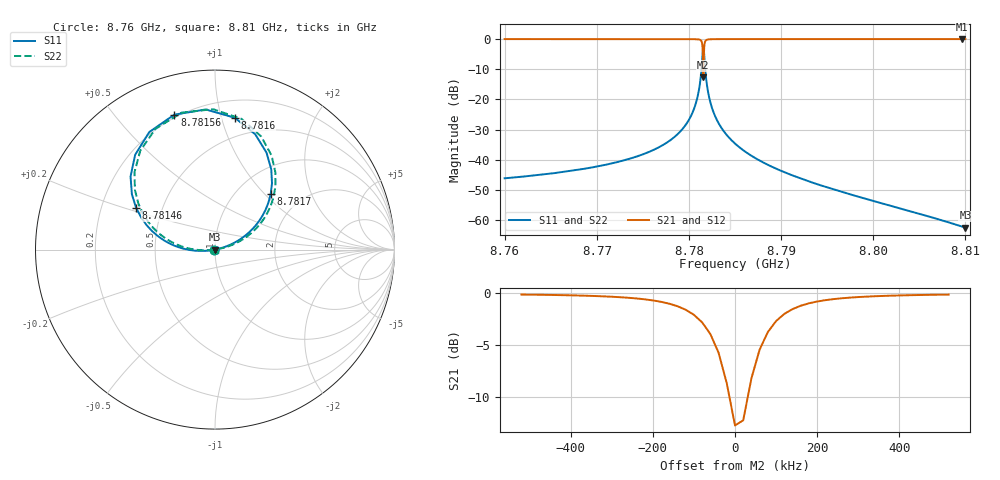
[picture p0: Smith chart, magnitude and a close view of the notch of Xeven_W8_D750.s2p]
! Sonnet Data File
! From: emgraph Version : 16.52
! From Project: Qubit_Xmon2_brg_para
! Data is De-embedded
! Data File Written: 10/25/2017 15:52:26
!< HDATE 10/25/2017 13:56:11
!< MDATE 10/25/2017 13:56:11
!< PARAMS
!< Lj = 11.0
!< Gap = 6.0
!< Pwid = 2000.0
!< Airgap = 6.0
!< Width = 10.0
!< Bwid = 8.0
!< Dis1 = 750.0
!< Dis2 = 756.0
!< END PARAMS
# GHZ S MA R 51.80000
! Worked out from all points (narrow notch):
!   2501 points, 8.76 GHz to 8.81 GHz, reference 51.8 ohm
!   highest |S21| = 0.00 dB at 8.80964 GHz (marker M1); lowest = -12.7 dB at 8.78156 GHz (marker M2)
!   notch at M2: 12.7 dB deep, 88.8 kHz wide at half that depth
!   lowest |S11| = -62.6 dB at 8.81 GHz (marker M3), VSWR 1.00, Z = 51.9 + j0.0184 ohm
!   |S11| at or under -10 dB: start of sweep to 8.781367 GHz; 8.781769 GHz to end of sweep
!   |S22| runs from -62.6 to -2.1 dB; largest |S21 - S12| = 0
!   S11 on the Smith chart (normalised r, x): 8.76 GHz: 0.99, -0.00; 8.78146 GHz: 0.35, +0.22; 8.78156 GHz: 0.19, +0.73; 8.7816 GHz: 0.34, +1.10; 8.7817 GHz: 1.42, +1.08; 8.81 GHz: 1.00, +0.00
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8.76  0.004903 -169.4  1 -80.5  1 -80.5  0.004903 -171.6
!< P1 F=8.76 Eeff=(6.44679147 -2.9786e-5) Z0=(51.7991429 1.19067e-4) R=0.0 C=0.0
!< P2 F=8.76 Eeff=(6.44679147 -2.9786e-5) Z0=(51.7991429 1.19067e-4) R=0.0 C=0.0
8.76834  0.006929 -169.5  1 -80.7  1 -80.7  0.006929 -172.0
8.77668  0.01586 -170.1  0.9998 -81.2  0.9998 -81.2  0.01586 -172.8
8.77878  0.02652 -170.8  0.9995 -81.9  0.9995 -81.9  0.02652 -173.7
8.78016  0.05077 -172.5  0.9981 -83.3  0.9981 -83.3  0.05077 -175.5
8.78076  0.08685 -175.2  0.9943 -85.4  0.9943 -85.4  0.08684 -178.1
8.78116  0.1674 178.9  0.9784 -90.0  0.9784 -90.0  0.1674 175.9
8.78132  0.2642 171.6  0.9452 -95.7  0.9452 -95.7  0.2642 168.6
8.78146  0.4969 152.2  0.7885 -109.7  0.7885 -109.7  0.4969 149.1
8.78156  0.7853 106.8  0.2317 -99.8  0.2317 -99.8  0.7853 103.8
8.7816  0.7429 81.5  0.3906 -40.6  0.3906 -40.6  0.7429 78.5
8.7817  0.4374 44.8  0.8401 -54.7  0.8401 -54.7  0.4374 41.8
8.78184  0.2414 29.0  0.954 -66.5  0.954 -66.5  0.2414 26.0
8.782  0.1558 22.6  0.9811 -71.4  0.9811 -71.4  0.1558 19.5
8.78268  0.06047 15.6  0.9971 -76.9  0.9971 -76.9  0.06047 12.5
8.78362  0.03206 13.6  0.9992 -78.6  0.9992 -78.6  0.03205 10.4
8.785  0.01849 12.6  0.9997 -79.3  0.9997 -79.3  0.01849 9.4
8.7883  0.0086 12.0  0.9999 -80.0  0.9999 -80.0  0.008599 8.5
8.79334  0.004193 11.9  1 -80.2  1 -80.2  0.004193 7.9
8.80168  0.001752 12.3  1 -80.5  1 -80.5  0.001752 7.1
8.80964  0.0007753 13.7  1 -80.6  1 -80.6  0.0007749 5.7
8.81  0.0007441 13.8  1 -80.6  1 -80.6  0.0007436 5.6
